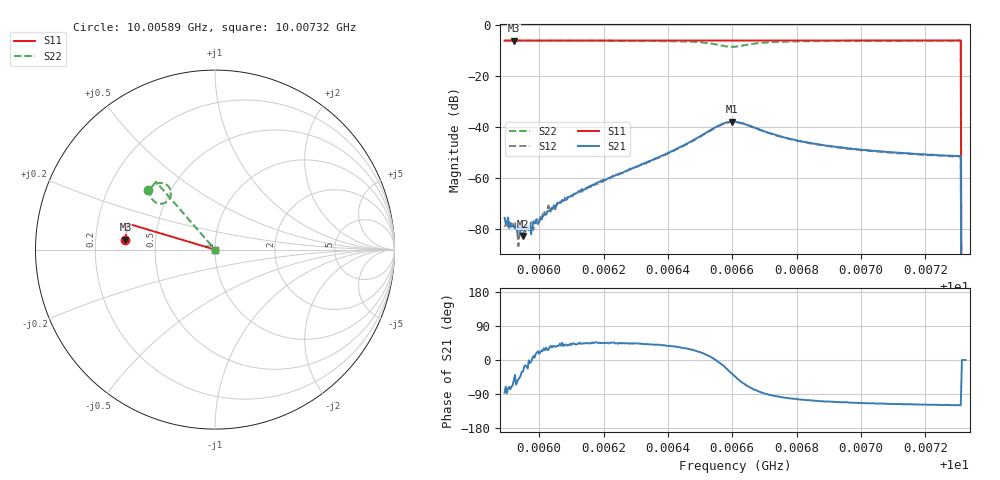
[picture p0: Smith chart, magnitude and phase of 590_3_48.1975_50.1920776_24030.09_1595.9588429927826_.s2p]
#  HZ  S  RI  R  50.00
! Rohde & Schwarz Vector Network Analyzer
! Rohde-Schwarz,ZNB20-2Port,1311601062101988,3.16
! Created: UTC 3/20/2024, 12:02:34 PM
! freq[Hz]  re:S11  im:S11  re:S21  im:S21  re:S12  im:S12  re:S22  im:S22
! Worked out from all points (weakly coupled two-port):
!   401 points, 10.00589 GHz to 10.00732 GHz, reference 50 ohm
!   highest |S21| = -37.83 dB at 10.0066 GHz (marker M1); lowest = -82.8 dB at 10.00595 GHz (marker M2)
!   lowest |S11| = -6.0 dB at 10.00592 GHz (marker M3), VSWR 3.02, Z = 16.6 + j2.48 ohm
!   |S11| at or under -10 dB: 10.00731 GHz to end of sweep
!   |S22| runs from - to -6.0 dB; largest |S21 - S12| = 0.00095
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1.0005893e10  -0.4995 0.054  1.08e-05 -0.000163  3.72e-05 -0.000101  -0.3735 0.3295
1.0005921e10  -0.4991 0.0559  6.79e-05 -9.06e-05  7.67e-05 -7.34e-05  -0.3718 0.3314
1.0005928e10  -0.4991 0.0564  4.76e-05 -0.000102  5.02e-05 -0.000101  -0.3714 0.3318
1.000595e10  -0.4991 0.0579  6.24e-05 -3.63e-05  9.64e-05 -5.96e-05  -0.3703 0.3332
1.0005971e10  -0.499 0.0591  0.000124 -1.67e-05  0.000113 -1.53e-06  -0.369 0.3345
1.0005986e10  -0.4989 0.0601  0.000125 1.37e-05  0.000102 7.43e-05  -0.3682 0.3355
1.0006e10  -0.4988 0.0611  0.000133 4e-05  0.000121 4.26e-05  -0.3674 0.3365
1.0006021e10  -0.4985 0.0626  0.000166 0.000107  0.000143 0.000121  -0.3661 0.3377
1.0006043e10  -0.4985 0.0639  0.000209 0.000157  0.000193 0.000151  -0.3647 0.3394
1.0006064e10  -0.4984 0.0654  0.000237 0.00022  0.000253 0.000234  -0.3633 0.3408
1.0006132e10  -0.4979 0.0697  0.000439 0.000416  0.000393 0.000413  -0.3585 0.3456
1.0006372e10  -0.4958 0.0854  0.00196 0.00167  0.00185 0.00169  -0.3309 0.3653
1.0006516e10  -0.4939 0.0946  0.00726 0.00203  0.00693 0.00232  -0.2743 0.3637
1.0006566e10  -0.493 0.0975  0.0111 -0.00203  0.0109 -0.00137  -0.2451 0.3193
1.0006598e10  -0.4925 0.0991  0.0105 -0.00743  0.0106 -0.00662  -0.2614 0.2725
1.0006609e10  -0.4925 0.0995  0.00932 -0.00876  0.00954 -0.00815  -0.2755 0.2622
1.0006687e10  -0.4922 0.1044  0.00087 -0.00873  0.00121 -0.00855  -0.3518 0.2837
1.0006849e10  -0.4909 0.1149  -0.0014 -0.00457  -0.00116 -0.00457  -0.3563 0.3362
1.0007088e10  -0.4876 0.1303  -0.0014 -0.00289  -0.0012 -0.00289  -0.3412 0.3628
1.0007303e10  -0.4842 0.1437  -0.00132 -0.00236  -0.00118 -0.00236  -0.3287 0.3772
1.0007321e10  0 0  0 0  0 0  0 0
1.0007325e10  0 0  0 0  0 0  0 0
